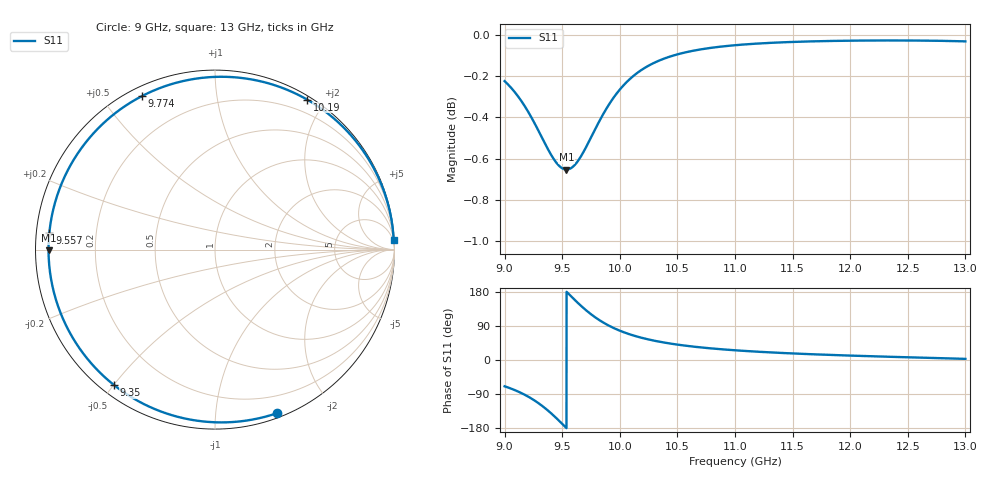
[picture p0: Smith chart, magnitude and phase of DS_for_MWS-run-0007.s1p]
! TOUCHSTONE file generated by CST DESIGN STUDIO
! Date and time: Tue Feb  4 12:47:59 2025
! Project name: C:\Work\MatlabApps\UnitCellOptimizationMatlab\CST\unitcell.cst
! Tree item: Tasks\Sweep1\SPara1\S-Parameters
! Header version: 2024
! Port assignment regex: !\s*Touchstone port\s*([0-9]+)\s*=\s*(CST MWS port|CST DES external port|CST DES block port)\s*(.+)\s* \(\"(.*)\"\)(\s*mode\s*([0-9]+))?.*
! Touchstone port assignment:
! Touchstone port 1 = CST DES external port 1 ("")
# GHz S MA R 50
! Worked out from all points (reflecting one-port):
!   4001 points, 9 GHz to 13 GHz, reference 50 ohm
!   lowest |S11| = -0.7 dB at 9.537 GHz (marker M1), VSWR 26.61, Z = 1.88 - j0.113 ohm
!   phase of S11 starts at -69 deg and turns -288 deg over the sweep
!   S11 on the Smith chart (normalised r, x): 9 GHz: 0.04, -1.44; 9.35 GHz: 0.04, -0.50; 9.557 GHz: 0.04, +0.05; 9.774 GHz: 0.04, +0.63; 10.19 GHz: 0.04, +1.79; 13 GHz: 2, +38
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9  0.9746 -69.4
9.099  0.9678 -80.8
9.207  0.9578 -97.1
9.282  0.9494 -111.4
9.35  0.9412 -126.8
9.421  0.9335 -145.4
9.462  0.9302 -157.1
9.5  0.9282 -168.5
9.537  0.9276 -179.7
9.557  0.9277 174.2
9.611  0.9301 157.9
9.671  0.9353 140.8
9.722  0.941 127.5
9.774  0.9473 115.4
9.821  0.9529 105.6
9.873  0.9586 96.0
9.936  0.9648 86.0
10  0.97 77.4
10.092  0.976 67.2
10.192  0.9809 58.4
10.333  0.9857 48.9
10.5  0.9893 40.6
10.721  0.9923 32.7
11  0.9944 25.6
11.5  0.9962 17.3
12  0.9969 11.6
12.5  0.997 7.2
13  0.9965 3.0
